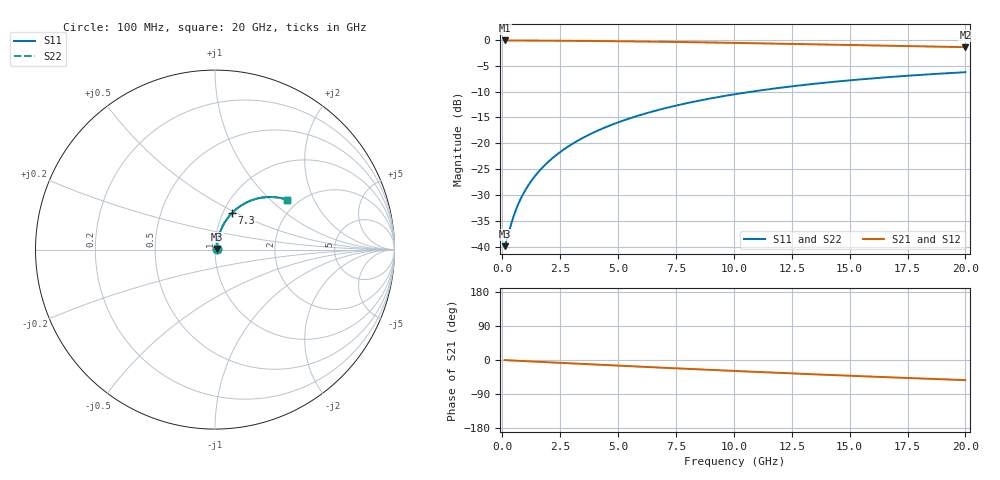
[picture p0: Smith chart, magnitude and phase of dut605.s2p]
! Touchstone file exported from HFSS 2026.1.0
!  File:  C:/ffzhzh/LocalFiles/Ansys_Project_Files/temp_train_TMRDL_605_1783008672_55676.aedt
!  Generated:  12:12:28 AM Jul  3, 2026
!  Design:  TMRDL
!  Project:  temp_train_TMRDL_605_1783008672_55676
! Variables:
!  h_bsmrdl = 2um
!  h_ox = 20um
!  h_rdl = 5um
!  h_sub = 80um
!  h_tmrdl = 2.63um
!  h_tsv = 80um
!  h_via = 3um
!  l_bsmrdl = 300um
!  l_sub = 1211.98um
!  l_tmrdl = 811.98um
!  m_sub = 200um
!  pitch = 30.65um
!  r_tsv = 6um
!  s_tmrdl = 10um
!  w_bsmrdl = 18um
!  w_sub = 500um
!  w_tmrdl = 11.47um
!  x_tsv_center1 = 817.715um
!  x_tsv_center2 = 1135.715um
!  x_tsv_center3 = 1959.165um
!  x_tsv_center4 = 2277.165um
!  x_tsv_center5 = 3100.615um
!  x_tsv_center6 = 3418.615um
# GHz S MA R 50.000000
! Terminal data exported
! Port[1] = TM_RDL1_1_T1
! Port[2] = TM_RDL1_1_T2
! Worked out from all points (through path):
!   200 points, 100 MHz to 20 GHz, reference 50 ohm
!   highest |S21| = -0.08 dB at 100 MHz (marker M1); lowest = -1.4 dB at 20 GHz (marker M2)
!   group delay of S21, straight-line fit = 7.39 ps
!   lowest |S11| = -39.9 dB at 100 MHz (marker M3), VSWR 1.02, Z = 51 + j0.354 ohm
!   |S11| at or under -10 dB: start of sweep to 10.77 GHz
!   |S22| runs from -39.9 to -6.2 dB; largest |S21 - S12| = 2.5e-15
!   S11 on the Smith chart (normalised r, x): 100 MHz: 1.02, +0.01; 7.3 GHz: 1.10, +0.48; 20 GHz: 1.75, +1.28
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0.1  0.01009 20.1  0.9905 -0.3  0.9905 -0.3  0.01009 20.1
! Gamma 0 0 0 0
! Port Impedance 50 0 50 0
0.2  0.01185 35.7  0.9904 -0.6  0.9904 -0.6  0.01185 35.7
0.4  0.01704 53.5  0.9901 -1.3  0.9901 -1.3  0.01704 53.5
0.5  0.01998 58.4  0.9898 -1.6  0.9898 -1.6  0.01998 58.4
0.7  0.02607 64.4  0.9893 -2.2  0.9893 -2.2  0.02607 64.4
1  0.03536 69.1  0.9886 -3.1  0.9886 -3.1  0.03536 69.1
1.3  0.04471 71.6  0.9879 -4.0  0.9879 -4.0  0.04471 71.6
1.7  0.05722 73.3  0.987 -5.2  0.987 -5.2  0.05722 73.3
2.2  0.07291 74.1  0.9857 -6.6  0.9857 -6.6  0.07291 74.1
2.8  0.09172 74.0  0.9838 -8.4  0.9838 -8.4  0.09172 74.0
3.5  0.1135 73.3  0.9812 -10.5  0.9812 -10.5  0.1135 73.3
4.2  0.1351 72.1  0.9782 -12.5  0.9782 -12.5  0.1351 72.1
5  0.1594 70.4  0.9741 -14.9  0.9741 -14.9  0.1594 70.4
5.9  0.1861 68.4  0.9689 -17.5  0.9689 -17.5  0.1861 68.3
6.8  0.2121 66.2  0.9631 -20.0  0.9631 -20.0  0.2121 66.1
7.3  0.2262 64.9  0.9597 -21.4  0.9597 -21.4  0.2262 64.9
8.6  0.2616 61.6  0.95 -25.0  0.95 -25.0  0.2616 61.6
10.1  0.3 57.8  0.9378 -29.1  0.9378 -29.1  0.3 57.8
11.7  0.3381 53.8  0.9241 -33.3  0.9241 -33.3  0.3381 53.8
13.4  0.3752 49.7  0.9091 -37.6  0.9091 -37.6  0.3752 49.6
16.7  0.4377 42.0  0.88 -45.6  0.88 -45.6  0.4377 41.9
20  0.4882 34.7  0.8529 -53.1  0.8529 -53.1  0.4882 34.6
